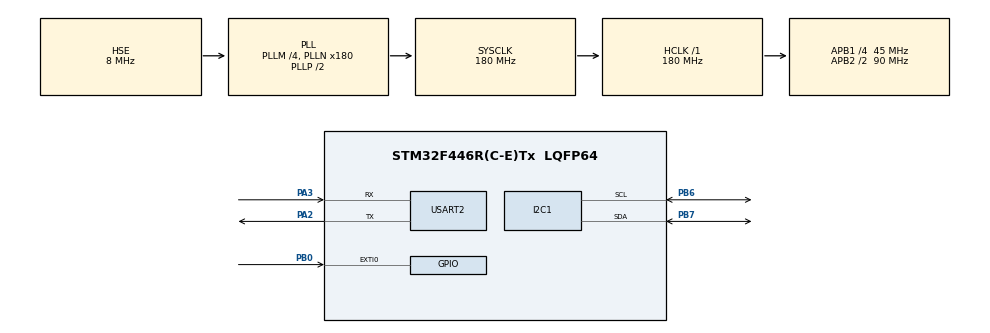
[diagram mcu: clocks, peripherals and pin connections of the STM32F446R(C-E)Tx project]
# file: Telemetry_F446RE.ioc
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I2C1.I2C_Mode=I2C_Fast
Mcu.Family=STM32F4
Mcu.Name=STM32F446R(C-E)Tx
Mcu.Package=LQFP64
NVIC.EXTI0_IRQn=true\:0\:0\:false\:false\:true\:true\:true\:true
NVIC.PriorityGroup=NVIC_PRIORITYGROUP_4
NVIC.TIM2_IRQn=true\:0\:0\:false\:false\:true\:true\:true\:true
PA13.Mode=Serial_Wire
PA13.Signal=SYS_JTMS-SWDIO
PA14.Mode=Serial_Wire
PA14.Signal=SYS_JTCK-SWCLK
PA2.Mode=Asynchronous
PA2.Signal=USART2_TX
PA3.Mode=Asynchronous
PA3.Signal=USART2_RX
PB0.Signal=GPXTI0
PB6.GPIO_Pu=GPIO_NOPULL
PB6.Mode=I2C
PB6.Signal=I2C1_SCL
PB7.GPIO_Pu=GPIO_NOPULL
PB7.Mode=I2C
PB7.Signal=I2C1_SDA
PH0-OSC_IN.Mode=HSE-External-Clock-Source
PH0-OSC_IN.Signal=RCC_OSC_IN
PH1-OSC_OUT.Mode=HSE-External-Clock-Source
PH1-OSC_OUT.Signal=RCC_OSC_OUT
ProjectManager.HeapSize=0x200
ProjectManager.StackSize=0x400
ProjectManager.TargetToolchain=STM32CubeIDE
RCC.AHBFreq_Value=180000000
RCC.APB1CLKDivider=RCC_HCLK_DIV4
RCC.APB1Freq_Value=45000000
RCC.APB1TimFreq_Value=90000000
RCC.APB2CLKDivider=RCC_HCLK_DIV2
RCC.APB2Freq_Value=90000000
RCC.APB2TimFreq_Value=180000000
RCC.CortexFreq_Value=180000000
RCC.HCLKFreq_Value=180000000
RCC.HSE_VALUE=8000000
RCC.PLLM=4
RCC.PLLN=180
RCC.PLLSourceVirtual=RCC_PLLSOURCE_HSE
RCC.SYSCLKFreq_VALUE=180000000
RCC.SYSCLKSource=RCC_SYSCLKSOURCE_PLLCLK
RCC.USBFreq_Value=180000000
RCC.VCOOutputFreq_Value=360000000
TIM1.Prescaler=179
TIM2.Period=19999
TIM2.Prescaler=89
USART2.VirtualMode=VM_ASYNC
VP_TIM1_VS_ClockSourceINT.Mode=Internal
VP_TIM2_VS_ClockSourceINT.Mode=Internal
board=NUCLEO-F446RE

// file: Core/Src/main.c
/* USER CODE BEGIN Header */
/**
 ******************************************************************************
 * @file           : main.c
 * @brief          : Main program body
 ******************************************************************************
 * @attention
 *
 * Copyright (c) 2026 STMicroelectronics.
 * All rights reserved.
 *
 * This software is licensed under terms that can be found in the LICENSE file
 * in the root directory of this software component.
 * If no LICENSE file comes with this software, it is provided AS-IS.
 *
 ******************************************************************************
 */
/* USER CODE END Header */
#include "main.h"

/* USER CODE BEGIN Includes */

#include "config.h"
#include "bmp280.h"
#include "mpu6050.h"
#include <stdio.h>

/* USER CODE END Includes */

I2C_HandleTypeDef hi2c1;

TIM_HandleTypeDef htim1;
TIM_HandleTypeDef htim2;

UART_HandleTypeDef huart2;

/* USER CODE BEGIN PV */

BMP280_Trimming_Parameters parameters;

int32_t raw_temperature;
int32_t raw_pressure;
MPU6050_ACCEL_GYRO real_accel_gyro;

float real_temperature;
float real_pressure;

error_t mpu_status;

volatile uint8_t bmp_read_flag = 0;
volatile uint8_t mpu_read_flag = 0;

TelemetryPacket_t telemetry_packet;
uint16_t sequence_number=0;
/* USER CODE END PV */

void SystemClock_Config(void);
static void MX_GPIO_Init(void);
static void MX_I2C1_Init(void);
static void MX_TIM1_Init(void);
static void MX_TIM2_Init(void);
static void MX_USART2_UART_Init(void);

int main(void)
{

  /* MCU Configuration--------------------------------------------------------*/

  /* Reset of all peripherals, Initializes the Flash interface and the Systick. */
  HAL_Init();

  /* Configure the system clock */
  SystemClock_Config();

  /* Initialize all configured peripherals */
  MX_GPIO_Init();
  MX_I2C1_Init();
  MX_TIM1_Init();
  MX_TIM2_Init();
  MX_USART2_UART_Init();
  /* USER CODE BEGIN 2 */
  HAL_Delay(100);

  mpu_status = MPU6050_Init(&hi2c1);

  BMP280_ReadTrimmingParameters(&hi2c1, &parameters);

  BMP280_Init(&hi2c1);

  HAL_TIM_Base_Start_IT(&htim2);

  /* USER CODE END 2 */

  /* Infinite loop */
  /* USER CODE BEGIN WHILE */

		while (1) {

			if (bmp_read_flag)

			{BMP280_ReadRawTemperature(&hi2c1, &raw_temperature);

		real_temperature = BMP280_CalculateTemperature(raw_temperature, &parameters);

		BMP280_ReadRawPressure(&hi2c1, &raw_pressure);

		real_pressure = BMP280_CalculatePressure(raw_pressure, &parameters);

		bmp_read_flag=0;

			}

			if (mpu_read_flag){

				mpu_status = MPU6050_ReadRealAccelGyro(&hi2c1, &real_accel_gyro);
				mpu_read_flag=0;

				telemetry_packet.header1 = HEADER_1;
				telemetry_packet.header2 = HEADER_2;

				telemetry_packet.sequence_number = sequence_number++;
				telemetry_packet.payload_length = 32;
				telemetry_packet.packet_type = 0x01;

				telemetry_packet.accel_x = real_accel_gyro.ACCEL_X ;
				telemetry_packet.accel_y = real_accel_gyro.ACCEL_Y ;
				telemetry_packet.accel_z = real_accel_gyro.ACCEL_Z ;
				telemetry_packet.gyro_x = real_accel_gyro.GYRO_X;
				telemetry_packet.gyro_y = real_accel_gyro.GYRO_Y;
				telemetry_packet.gyro_z = real_accel_gyro.GYRO_Z;
				telemetry_packet.temperature = real_temperature;
				telemetry_packet.pressure = real_pressure;

				telemetry_packet.crc = crc_function((uint8_t*)&telemetry_packet, sizeof(TelemetryPacket_t) - 2);
				//CRC (Cyclic Redundancy Check / Dongusel Asırılık Kontrolu):

				HAL_UART_Transmit(&huart2, (uint8_t*)&telemetry_packet, sizeof(TelemetryPacket_t), 100);
			}

			}

    /* USER CODE END WHILE */

}

void SystemClock_Config(void)
{
  RCC_OscInitTypeDef RCC_OscInitStruct = {0};
  RCC_ClkInitTypeDef RCC_ClkInitStruct = {0};

  /** Configure the main internal regulator output voltage
  */
  __HAL_RCC_PWR_CLK_ENABLE();
  __HAL_PWR_VOLTAGESCALING_CONFIG(PWR_REGULATOR_VOLTAGE_SCALE1);

  /** Initializes the RCC Oscillators according to the specified parameters
  * in the RCC_OscInitTypeDef structure.
  */
  RCC_OscInitStruct.OscillatorType = RCC_OSCILLATORTYPE_HSE;
  RCC_OscInitStruct.HSEState = RCC_HSE_BYPASS;
  RCC_OscInitStruct.PLL.PLLState = RCC_PLL_ON;
  RCC_OscInitStruct.PLL.PLLSource = RCC_PLLSOURCE_HSE;
  RCC_OscInitStruct.PLL.PLLM = 4;
  RCC_OscInitStruct.PLL.PLLN = 180;
  RCC_OscInitStruct.PLL.PLLP = RCC_PLLP_DIV2;
  RCC_OscInitStruct.PLL.PLLQ = 2;
  RCC_OscInitStruct.PLL.PLLR = 2;
  if (HAL_RCC_OscConfig(&RCC_OscInitStruct) != HAL_OK)
  {
    Error_Handler();
  }

  /** Activate the Over-Drive mode
  */
  if (HAL_PWREx_EnableOverDrive() != HAL_OK)
  {
    Error_Handler();
  }

  /** Initializes the CPU, AHB and APB buses clocks
  */
  RCC_ClkInitStruct.ClockType = RCC_CLOCKTYPE_HCLK|RCC_CLOCKTYPE_SYSCLK
                              |RCC_CLOCKTYPE_PCLK1|RCC_CLOCKTYPE_PCLK2;
  RCC_ClkInitStruct.SYSCLKSource = RCC_SYSCLKSOURCE_PLLCLK;
  RCC_ClkInitStruct.AHBCLKDivider = RCC_SYSCLK_DIV1;
  RCC_ClkInitStruct.APB1CLKDivider = RCC_HCLK_DIV4;
  RCC_ClkInitStruct.APB2CLKDivider = RCC_HCLK_DIV2;

  if (HAL_RCC_ClockConfig(&RCC_ClkInitStruct, FLASH_LATENCY_5) != HAL_OK)
  {
    Error_Handler();
  }
}

static void MX_I2C1_Init(void)
{

  hi2c1.Instance = I2C1;
  hi2c1.Init.ClockSpeed = 100000;
  hi2c1.Init.DutyCycle = I2C_DUTYCYCLE_2;
  hi2c1.Init.OwnAddress1 = 0;
  hi2c1.Init.AddressingMode = I2C_ADDRESSINGMODE_7BIT;
  hi2c1.Init.DualAddressMode = I2C_DUALADDRESS_DISABLE;
  hi2c1.Init.OwnAddress2 = 0;
  hi2c1.Init.GeneralCallMode = I2C_GENERALCALL_DISABLE;
  hi2c1.Init.NoStretchMode = I2C_NOSTRETCH_DISABLE;
  if (HAL_I2C_Init(&hi2c1) != HAL_OK)
  {
    Error_Handler();
  }

}

static void MX_TIM1_Init(void)
{

  TIM_ClockConfigTypeDef sClockSourceConfig = {0};
  TIM_MasterConfigTypeDef sMasterConfig = {0};

  htim1.Instance = TIM1;
  htim1.Init.Prescaler = 179;
  htim1.Init.CounterMode = TIM_COUNTERMODE_UP;
  htim1.Init.Period = 65535;
  htim1.Init.ClockDivision = TIM_CLOCKDIVISION_DIV1;
  htim1.Init.RepetitionCounter = 0;
  htim1.Init.AutoReloadPreload = TIM_AUTORELOAD_PRELOAD_DISABLE;
  if (HAL_TIM_Base_Init(&htim1) != HAL_OK)
  {
    Error_Handler();
  }
  sClockSourceConfig.ClockSource = TIM_CLOCKSOURCE_INTERNAL;
  if (HAL_TIM_ConfigClockSource(&htim1, &sClockSourceConfig) != HAL_OK)
  {
    Error_Handler();
  }
  sMasterConfig.MasterOutputTrigger = TIM_TRGO_RESET;
  sMasterConfig.MasterSlaveMode = TIM_MASTERSLAVEMODE_DISABLE;
  if (HAL_TIMEx_MasterConfigSynchronization(&htim1, &sMasterConfig) != HAL_OK)
  {
    Error_Handler();
  }

}

static void MX_TIM2_Init(void)
{

  TIM_ClockConfigTypeDef sClockSourceConfig = {0};
  TIM_MasterConfigTypeDef sMasterConfig = {0};

  htim2.Instance = TIM2;
  htim2.Init.Prescaler = 89;
  htim2.Init.CounterMode = TIM_COUNTERMODE_UP;
  htim2.Init.Period = 19999;
  htim2.Init.ClockDivision = TIM_CLOCKDIVISION_DIV1;
  htim2.Init.AutoReloadPreload = TIM_AUTORELOAD_PRELOAD_DISABLE;
  if (HAL_TIM_Base_Init(&htim2) != HAL_OK)
  {
    Error_Handler();
  }
  sClockSourceConfig.ClockSource = TIM_CLOCKSOURCE_INTERNAL;
  if (HAL_TIM_ConfigClockSource(&htim2, &sClockSourceConfig) != HAL_OK)
  {
    Error_Handler();
  }
  sMasterConfig.MasterOutputTrigger = TIM_TRGO_RESET;
  sMasterConfig.MasterSlaveMode = TIM_MASTERSLAVEMODE_DISABLE;
  if (HAL_TIMEx_MasterConfigSynchronization(&htim2, &sMasterConfig) != HAL_OK)
  {
    Error_Handler();
  }

}

static void MX_USART2_UART_Init(void)
{

  huart2.Instance = USART2;
  huart2.Init.BaudRate = 115200;
  huart2.Init.WordLength = UART_WORDLENGTH_8B;
  huart2.Init.StopBits = UART_STOPBITS_1;
  huart2.Init.Parity = UART_PARITY_NONE;
  huart2.Init.Mode = UART_MODE_TX_RX;
  huart2.Init.HwFlowCtl = UART_HWCONTROL_NONE;
  huart2.Init.OverSampling = UART_OVERSAMPLING_16;
  if (HAL_UART_Init(&huart2) != HAL_OK)
  {
    Error_Handler();
  }

}

static void MX_GPIO_Init(void)
{
  GPIO_InitTypeDef GPIO_InitStruct = {0};

  /* GPIO Ports Clock Enable */
  __HAL_RCC_GPIOH_CLK_ENABLE();
  __HAL_RCC_GPIOA_CLK_ENABLE();
  __HAL_RCC_GPIOB_CLK_ENABLE();

  /*Configure GPIO pin : PB0 */
  GPIO_InitStruct.Pin = GPIO_PIN_0;
  GPIO_InitStruct.Mode = GPIO_MODE_IT_RISING;
  GPIO_InitStruct.Pull = GPIO_NOPULL;
  HAL_GPIO_Init(GPIOB, &GPIO_InitStruct);

  /* EXTI interrupt init*/
  HAL_NVIC_SetPriority(EXTI0_IRQn, 0, 0);
  HAL_NVIC_EnableIRQ(EXTI0_IRQn);

}

/* USER CODE BEGIN 4 */

void HAL_TIM_PeriodElapsedCallback (TIM_HandleTypeDef *htim){

    static uint16_t mpu_counter = 0;
    static uint16_t bmp_counter = 0;

    if(htim->Instance == TIM2){
        mpu_counter++;
        bmp_counter++;

        // Her 1 Timer tetiklemesinde bir MPU6050 bayrağını kaldır (50 Hz / 20 ms)
        if (mpu_counter >= 1) {
            mpu_read_flag = 1;
            mpu_counter = 0;
        }

        // Her 5 Timer tetiklemesinde bir BMP280 bayrağını kaldır (10 Hz / 100 ms)
        if (bmp_counter >= 5) {
            bmp_read_flag = 1;
            bmp_counter = 0;
        }
    }
}
/* USER CODE END 4 */

void Error_Handler(void)
{
__disable_irq();
while (1) {
}
}
